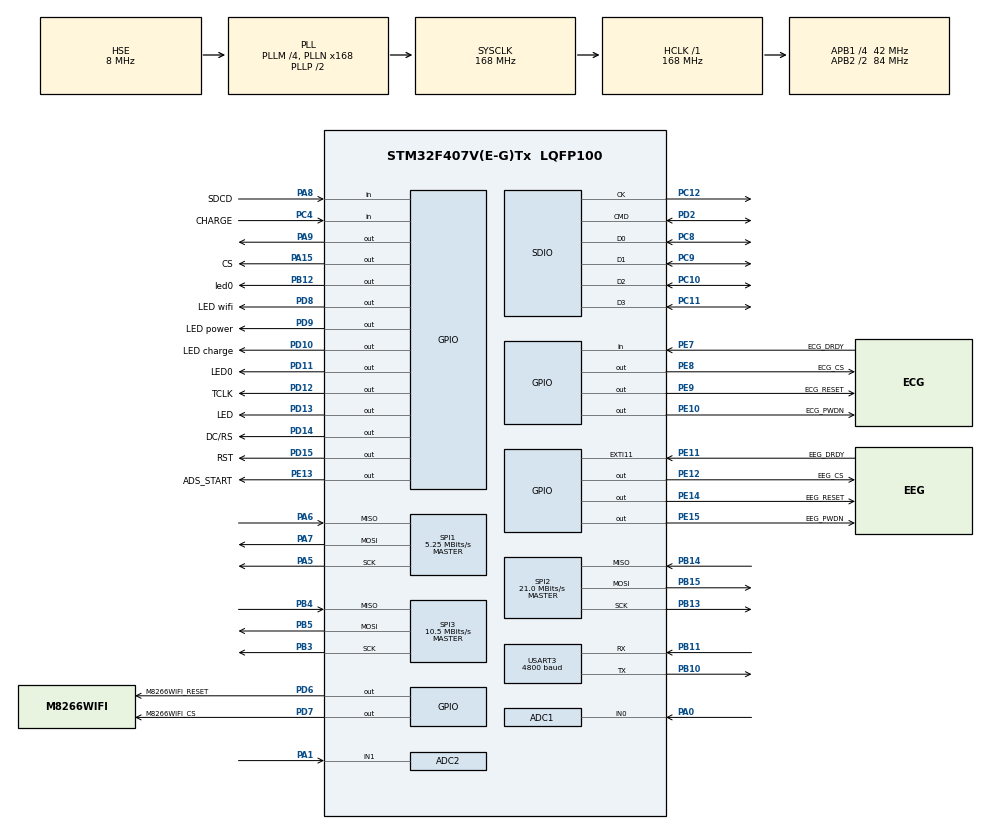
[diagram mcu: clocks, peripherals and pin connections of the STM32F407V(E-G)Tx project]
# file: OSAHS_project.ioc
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ADC1.Channel-0\#ChannelRegularConversion=ADC_CHANNEL_0
ADC1.ClockPrescaler=ADC_CLOCK_SYNC_PCLK_DIV4
ADC1.DMAContinuousRequests=ENABLE
ADC1.ExternalTrigConv=ADC_EXTERNALTRIGCONV_T2_CC2
ADC1.NbrOfConversionFlag=1
ADC1.Rank-0\#ChannelRegularConversion=1
ADC1.SamplingTime-0\#ChannelRegularConversion=ADC_SAMPLETIME_3CYCLES
ADC1.ScanConvMode=ENABLE
ADC1.master=1
ADC2.Channel-0\#ChannelRegularConversion=ADC_CHANNEL_1
ADC2.ClockPrescaler=ADC_CLOCK_SYNC_PCLK_DIV4
ADC2.DMAContinuousRequests=ENABLE
ADC2.ExternalTrigConv=ADC_EXTERNALTRIGCONV_T3_CC1
ADC2.NbrOfConversionFlag=1
ADC2.Rank-0\#ChannelRegularConversion=1
ADC2.SamplingTime-0\#ChannelRegularConversion=ADC_SAMPLETIME_3CYCLES
ADC2.ScanConvMode=ENABLE
Dma.ADC1.0.Direction=DMA_PERIPH_TO_MEMORY
Dma.ADC1.0.FIFOMode=DMA_FIFOMODE_DISABLE
Dma.ADC1.0.Instance=DMA2_Stream4
Dma.ADC1.0.MemDataAlignment=DMA_MDATAALIGN_HALFWORD
Dma.ADC1.0.MemInc=DMA_MINC_ENABLE
Dma.ADC1.0.Mode=DMA_CIRCULAR
Dma.ADC1.0.PeriphDataAlignment=DMA_PDATAALIGN_HALFWORD
Dma.ADC1.0.PeriphInc=DMA_PINC_DISABLE
Dma.ADC1.0.Priority=DMA_PRIORITY_HIGH
Dma.ADC2.1.Direction=DMA_PERIPH_TO_MEMORY
Dma.ADC2.1.FIFOMode=DMA_FIFOMODE_DISABLE
Dma.ADC2.1.Instance=DMA2_Stream2
Dma.ADC2.1.MemDataAlignment=DMA_MDATAALIGN_HALFWORD
Dma.ADC2.1.MemInc=DMA_MINC_ENABLE
Dma.ADC2.1.Mode=DMA_CIRCULAR
Dma.ADC2.1.PeriphDataAlignment=DMA_PDATAALIGN_HALFWORD
Dma.ADC2.1.PeriphInc=DMA_PINC_DISABLE
Dma.ADC2.1.Priority=DMA_PRIORITY_LOW
Dma.Request0=ADC1
Dma.Request1=ADC2
Dma.Request2=USART3_RX
Dma.Request3=SPI3_RX
Dma.Request4=SPI3_TX
Dma.SPI3_RX.3.Direction=DMA_PERIPH_TO_MEMORY
Dma.SPI3_RX.3.FIFOMode=DMA_FIFOMODE_DISABLE
Dma.SPI3_RX.3.Instance=DMA1_Stream0
Dma.SPI3_RX.3.MemDataAlignment=DMA_MDATAALIGN_BYTE
Dma.SPI3_RX.3.MemInc=DMA_MINC_ENABLE
Dma.SPI3_RX.3.Mode=DMA_CIRCULAR
Dma.SPI3_RX.3.PeriphDataAlignment=DMA_PDATAALIGN_BYTE
Dma.SPI3_RX.3.PeriphInc=DMA_PINC_DISABLE
Dma.SPI3_RX.3.Priority=DMA_PRIORITY_VERY_HIGH
Dma.SPI3_TX.4.Direction=DMA_MEMORY_TO_PERIPH
Dma.SPI3_TX.4.FIFOMode=DMA_FIFOMODE_DISABLE
Dma.SPI3_TX.4.Instance=DMA1_Stream5
Dma.SPI3_TX.4.MemDataAlignment=DMA_MDATAALIGN_BYTE
Dma.SPI3_TX.4.MemInc=DMA_MINC_ENABLE
Dma.SPI3_TX.4.Mode=DMA_CIRCULAR
Dma.SPI3_TX.4.PeriphDataAlignment=DMA_PDATAALIGN_BYTE
Dma.SPI3_TX.4.PeriphInc=DMA_PINC_DISABLE
Dma.SPI3_TX.4.Priority=DMA_PRIORITY_VERY_HIGH
Dma.USART3_RX.2.Direction=DMA_PERIPH_TO_MEMORY
Dma.USART3_RX.2.FIFOMode=DMA_FIFOMODE_DISABLE
Dma.USART3_RX.2.Instance=DMA1_Stream1
Dma.USART3_RX.2.MemDataAlignment=DMA_MDATAALIGN_BYTE
Dma.USART3_RX.2.MemInc=DMA_MINC_ENABLE
Dma.USART3_RX.2.Mode=DMA_CIRCULAR
Dma.USART3_RX.2.PeriphDataAlignment=DMA_PDATAALIGN_BYTE
Dma.USART3_RX.2.PeriphInc=DMA_PINC_DISABLE
Dma.USART3_RX.2.Priority=DMA_PRIORITY_MEDIUM
FATFS.BSP.number=1
FATFS._USE_LFN=2
FATFS0.BSP.STBoard=false
FATFS0.BSP.api=Unknown
FATFS0.BSP.i2caddr=0
FATFS0.BSP.instance=PA8
FATFS0.BSP.ip=GPIO
FATFS0.BSP.mode=Input
FATFS0.BSP.name=Detect_SDIO
FATFS0.BSP.solution=PA8
FREERTOS.BinarySemaphores01=Breath_BinarySem,Dynamic,NULL;ADS_BinarySem,Dynamic,NULL;touch_BinarySem,Dynamic,NULL
FREERTOS.Tasks01=defaultTask,1,128,StartDefaultTask,Default,NULL,Dynamic,NULL,NULL;RealTime_Task,-1,256,StartRT_Task,Default,NULL,Dynamic,NULL,NULL;Breath_Task,-1,512,StartBreath_Task,Default,NULL,Dynamic,NULL,NULL;ADS1299_Task,0,512,StartADS_Task,Default,ADS_BinarySemHandle,Dynamic,NULL,NULL
FREERTOS.configLIBRARY_MAX_SYSCALL_INTERRUPT_PRIORITY=5
FREERTOS.configMAX_PRIORITIES=5
Mcu.Family=STM32F4
Mcu.Name=STM32F407V(E-G)Tx
Mcu.Package=LQFP100
NVIC.DMA1_Stream0_IRQn=true\:6\:0\:true\:false\:true\:true\:false\:true
NVIC.DMA1_Stream1_IRQn=true\:7\:0\:true\:false\:true\:true\:false\:true
NVIC.DMA1_Stream5_IRQn=true\:6\:0\:true\:false\:true\:true\:false\:true
NVIC.DMA2_Stream2_IRQn=true\:6\:0\:true\:false\:true\:true\:false\:true
NVIC.DMA2_Stream4_IRQn=true\:5\:0\:true\:false\:true\:true\:false\:true
NVIC.EXTI15_10_IRQn=true\:5\:0\:true\:false\:true\:true\:true\:true
NVIC.PriorityGroup=NVIC_PRIORITYGROUP_4
NVIC.TIM1_UP_TIM10_IRQn=true\:0\:0\:false\:false\:true\:false\:false\:true
NVIC.TimeBase=TIM1_UP_TIM10_IRQn
NVIC.TimeBaseIP=TIM1
NVIC.USART3_IRQn=true\:7\:0\:true\:false\:true\:true\:true\:true
PA0-WKUP.Signal=ADCx_IN0
PA1.Signal=ADCx_IN1
PA13.Mode=Serial_Wire
PA13.Signal=SYS_JTMS-SWDIO
PA14.Mode=Serial_Wire
PA14.Signal=SYS_JTCK-SWCLK
PA15.GPIO_Label=CS
PA15.GPIO_PuPd=GPIO_PULLUP
PA15.Signal=GPIO_Output
PA5.Mode=Full_Duplex_Master
PA5.Signal=SPI1_SCK
PA6.Mode=Full_Duplex_Master
PA6.Signal=SPI1_MISO
PA7.Mode=Full_Duplex_Master
PA7.Signal=SPI1_MOSI
PA8.GPIO_Label=SDCD
PA8.Signal=GPIO_Input
PA9.PinState=GPIO_PIN_SET
PA9.Signal=GPIO_Output
PB10.Mode=Asynchronous
PB10.Signal=USART3_TX
PB11.Mode=Asynchronous
PB11.Signal=USART3_RX
PB12.GPIO_Label=led0
PB12.PinState=GPIO_PIN_SET
PB12.Signal=GPIO_Output
PB13.Mode=Full_Duplex_Master
PB13.Signal=SPI2_SCK
PB14.Mode=Full_Duplex_Master
PB14.Signal=SPI2_MISO
PB15.Mode=Full_Duplex_Master
PB15.Signal=SPI2_MOSI
PB3.Mode=Full_Duplex_Master
PB3.Signal=SPI3_SCK
PB4.Mode=Full_Duplex_Master
PB4.Signal=SPI3_MISO
PB5.Mode=Full_Duplex_Master
PB5.Signal=SPI3_MOSI
PC10.Mode=SD_4_bits_Wide_bus
PC10.Signal=SDIO_D2
PC11.Mode=SD_4_bits_Wide_bus
PC11.Signal=SDIO_D3
PC12.Mode=SD_4_bits_Wide_bus
PC12.Signal=SDIO_CK
PC4.GPIO_Label=CHARGE
PC4.Signal=GPIO_Input
PC8.Mode=SD_4_bits_Wide_bus
PC8.Signal=SDIO_D0
PC9.Mode=SD_4_bits_Wide_bus
PC9.Signal=SDIO_D1
PD10.GPIO_Label=LED charge
PD10.GPIO_ModeDefaultOutputPP=GPIO_MODE_OUTPUT_OD
PD10.Signal=GPIO_Output
PD11.GPIO_Label=LED0
PD11.GPIO_ModeDefaultOutputPP=GPIO_MODE_OUTPUT_OD
PD11.Signal=GPIO_Output
PD12.GPIO_Label=TCLK
PD12.Signal=GPIO_Output
PD13.GPIO_Label=LED
PD13.GPIO_PuPd=GPIO_PULLUP
PD13.Signal=GPIO_Output
PD14.GPIO_Label=DC/RS
PD14.GPIO_PuPd=GPIO_PULLUP
PD14.Signal=GPIO_Output
PD15.GPIO_Label=RST
PD15.GPIO_PuPd=GPIO_PULLUP
PD15.Signal=GPIO_Output
PD2.Mode=SD_4_bits_Wide_bus
PD2.Signal=SDIO_CMD
PD6.GPIO_Label=M8266WIFI_RESET
PD6.GPIO_Speed=GPIO_SPEED_FREQ_HIGH
PD6.Signal=GPIO_Output
PD7.GPIO_Label=M8266WIFI_CS
PD7.GPIO_Speed=GPIO_SPEED_FREQ_HIGH
PD7.Signal=GPIO_Output
PD8.GPIO_Label=LED wifi
PD8.GPIO_ModeDefaultOutputPP=GPIO_MODE_OUTPUT_OD
PD8.Signal=GPIO_Output
PD9.GPIO_Label=LED power
PD9.GPIO_ModeDefaultOutputPP=GPIO_MODE_OUTPUT_OD
PD9.Signal=GPIO_Output
PE10.GPIO_Label=ECG_PWDN
PE10.GPIO_PuPd=GPIO_PULLDOWN
PE10.Signal=GPIO_Output
PE11.GPIO_Label=EEG_DRDY
PE11.GPIO_ModeDefaultEXTI=GPIO_MODE_IT_FALLING
PE11.GPIO_PuPd=GPIO_PULLDOWN
PE11.Signal=GPXTI11
PE12.GPIO_Label=EEG_CS
PE12.Signal=GPIO_Output
PE13.GPIO_Label=ADS_START
PE13.GPIO_PuPd=GPIO_PULLDOWN
PE13.Signal=GPIO_Output
PE14.GPIO_Label=EEG_RESET
PE14.GPIO_PuPd=GPIO_PULLDOWN
PE14.Signal=GPIO_Output
PE15.GPIO_Label=EEG_PWDN
PE15.GPIO_PuPd=GPIO_PULLDOWN
PE15.Signal=GPIO_Output
PE7.GPIO_Label=ECG_DRDY
PE7.GPIO_PuPd=GPIO_PULLDOWN
PE7.Signal=GPIO_Input
PE8.GPIO_Label=ECG_CS
PE8.Signal=GPIO_Output
PE9.GPIO_Label=ECG_RESET
PE9.GPIO_PuPd=GPIO_PULLDOWN
PE9.Signal=GPIO_Output
PH0-OSC_IN.Mode=HSE-External-Oscillator
PH0-OSC_IN.Signal=RCC_OSC_IN
PH1-OSC_OUT.Mode=HSE-External-Oscillator
PH1-OSC_OUT.Signal=RCC_OSC_OUT
ProjectManager.HeapSize=0x400
ProjectManager.StackSize=0x1000
ProjectManager.TargetToolchain=SW4STM32
RCC.48MHZClocksFreq_Value=48000000
RCC.AHBFreq_Value=168000000
RCC.APB1CLKDivider=RCC_HCLK_DIV4
RCC.APB1Freq_Value=42000000
RCC.APB1TimFreq_Value=84000000
RCC.APB2CLKDivider=RCC_HCLK_DIV2
RCC.APB2Freq_Value=84000000
RCC.APB2TimFreq_Value=168000000
RCC.CortexFreq_Value=168000000
RCC.HCLKFreq_Value=168000000
RCC.HSE_VALUE=8000000
RCC.HSI_VALUE=16000000
RCC.LSE_VALUE=32768
RCC.PLLM=4
RCC.PLLN=168
RCC.PLLQ=7
RCC.PLLSourceVirtual=RCC_PLLSOURCE_HSE
RCC.SYSCLKFreq_VALUE=168000000
RCC.SYSCLKSource=RCC_SYSCLKSOURCE_PLLCLK
RCC.VCOOutputFreq_Value=336000000
SDIO.ClockDiv=96
SH.ADCx_IN0.0=ADC1_IN0,IN0
SH.ADCx_IN1.0=ADC2_IN1,IN1
SPI1.BaudRatePrescaler=SPI_BAUDRATEPRESCALER_16
SPI1.CLKPhase=SPI_PHASE_2EDGE
SPI1.CalculateBaudRate=5.25 MBits/s
SPI1.Direction=SPI_DIRECTION_2LINES
SPI1.Mode=SPI_MODE_MASTER
SPI1.VirtualType=VM_MASTER
SPI2.CalculateBaudRate=21.0 MBits/s
SPI2.Direction=SPI_DIRECTION_2LINES
SPI2.Mode=SPI_MODE_MASTER
SPI2.VirtualType=VM_MASTER
SPI3.BaudRatePrescaler=SPI_BAUDRATEPRESCALER_4
SPI3.CalculateBaudRate=10.5 MBits/s
SPI3.Direction=SPI_DIRECTION_2LINES
SPI3.Mode=SPI_MODE_MASTER
SPI3.VirtualType=VM_MASTER
TIM2.Channel-PWM\ Generation2\ No\ Output=TIM_CHANNEL_2
TIM2.Period=500-1
TIM2.Prescaler=21-1
TIM2.Pulse-PWM\ Generation2\ No\ Output=250
TIM2.TIM_MasterOutputTrigger=TIM_TRGO_UPDATE
TIM3.Channel-PWM\ Generation1\ No\ Output=TIM_CHANNEL_1
TIM3.Period=10000-1
TIM3.Prescaler=8400-1
TIM3.Pulse-PWM\ Generation1\ No\ Output=5000
TIM3.TIM_MasterOutputTrigger=TIM_TRGO_UPDATE
USART3.BaudRate=4800
USART3.VirtualMode=VM_ASYNC
VP_FATFS_VS_SDIO.Mode=SDIO
VP_FREERTOS_VS_CMSIS_V1.Mode=CMSIS_V1
VP_SYS_VS_tim1.Mode=TIM1
VP_TIM2_VS_no_output2.Mode=PWM Generation2 No Output
VP_TIM3_VS_no_output1.Mode=PWM Generation1 No Output
board=custom

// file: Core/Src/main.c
/* USER CODE BEGIN Header */
/**
  ******************************************************************************
  * @file           : main.c
  * @brief          : Main program body
  ******************************************************************************
  * @attention
  *
  * <h2><center>&copy; Copyright (c) 2021 STMicroelectronics.
  * All rights reserved.</center></h2>
  *
  * This software component is licensed by ST under BSD 3-Clause license,
  * the "License"; You may not use this file except in compliance with the
  * License. You may obtain a copy of the License at:
  *                        opensource.org/licenses/BSD-3-Clause
  *
  ******************************************************************************
  */
/* USER CODE END Header */
#include "main.h"
#include "cmsis_os.h"
#include "adc.h"
#include "dma.h"
#include "fatfs.h"
#include "sdio.h"
#include "spi.h"
#include "tim.h"
#include "usart.h"
#include "gpio.h"

/* USER CODE BEGIN Includes */
#include "M8266WIFIDrv.h"
#include "M8266WIFI_ops.h"
#include "ADS1298.h"
#include "spo2.h"
#include "InitTask.h"
/* USER CODE END Includes */

typedef struct hal hal;
/* USER CODE BEGIN PD */
uint8_t tim3_count_seconds=0;
/* USER CODE END PD */

/* USER CODE BEGIN PM */
int init_flag;
/* USER CODE END PM */

void SystemClock_Config(void);
void MX_FREERTOS_Init(void);

/* USER CODE BEGIN 0 */
void RCCdelay_us(uint8_t udelay)
{
  __IO uint32_t Delay = udelay * 168 / 8;//(SystemCoreClock / 8U / 1000000U)
    //��stm32f1xx_hal_rcc.c -- static void RCC_Delay(uint32_t mdelay)
  do
  {
    __NOP();
  }
  while (Delay --);
}
const double NUM2[6] = {
     0.9265782515687,   -4.632891257843,    9.265782515687,   -9.265782515687,
      4.632891257843,  -0.9265782515687
};

const double DEN2[6] = {
                   1,   -4.847508003664,      9.4015942664,   -9.119196657394,
      4.423657866459,  -0.8585472562801
};

float highpass_80hz_5jie(double y[], double x[],double xn)
{
	float yn;
  x[0]=x[1];
  x[1]=x[2];
  x[2]=x[3];
  x[3]=x[4];
  x[4]=x[5];
  x[5]=xn;
  y[0]=y[1];
  y[1]=y[2];
  y[2]=y[3];
  y[3]=y[4];
  y[4]=y[5];
  yn=NUM2[0]*x[5]+NUM2[1]*x[4]+NUM2[2]*x[3] + NUM2[3]*x[2]+NUM2[4]*x[2]+NUM2[5]*x[0]-DEN2[1]*y[4]-DEN2[2]*y[3]-DEN2[3]*y[2]-DEN2[4]*y[1]-DEN2[5]*y[0];
  y[5]=yn;
	return yn;

}

const double NUM_1200hzlp5jie[6] = {
    0.006933196130143,  0.03466598065071,  0.06933196130143,  0.06933196130143,
    0.03466598065071, 0.006933196130143
};

const double DEN_1200hzlp5jie[6] = {
     1,   -1.975901616441,       2.013473026,   -1.102617977778,
     0.3276183340002, -0.04070948961667
};

float lowpass_1200hz_5jie(double y[], double x[],double xn)
{
	float yn;
  x[0]=x[1];
  x[1]=x[2];
  x[2]=x[3];
  x[3]=x[4];
  x[4]=x[5];
  x[5]=xn;
  y[0]=y[1];
  y[1]=y[2];
  y[2]=y[3];
  y[3]=y[4];
  y[4]=y[5];
  yn=NUM_1200hzlp5jie[0]*x[5]+NUM_1200hzlp5jie[1]*x[4]+NUM_1200hzlp5jie[2]*x[3] + NUM_1200hzlp5jie[3]*x[2]+NUM_1200hzlp5jie[4]*x[2]+NUM_1200hzlp5jie[5]*x[0]
			-DEN_1200hzlp5jie[1]*y[4]-DEN_1200hzlp5jie[2]*y[3]-DEN_1200hzlp5jie[3]*y[2]-DEN_1200hzlp5jie[4]*y[1]-DEN_1200hzlp5jie[5]*y[0];
  y[5]=yn;
	return yn;
}

const double NUM[3] = {//Q=1
      0.9950290778951,   -1.988523893073,   0.9950290778951
};
const double DEN[3] = {
            1,   -1.988523893073,   0.9900581557902
};
float Notching50Hz(double y[], double x[],double xn){
  float yn;
	x[0]=x[1];
  x[1]=x[2];
  x[2]=xn;
  y[0]=y[1];
	y[1]=y[2];
  yn=(float)(NUM[0]*x[2]+NUM[1]*x[1]+NUM[2]*x[0]-DEN[1]*y[1]-DEN[2]*y[0]);
	y[2]=yn;
	return yn;
}
/* USER CODE END 0 */

int main(void)
{

  /* MCU Configuration--------------------------------------------------------*/

  /* Reset of all peripherals, Initializes the Flash interface and the Systick. */
  HAL_Init();

  /* Configure the system clock */
  SystemClock_Config();

  /* Initialize all configured peripherals */
  MX_GPIO_Init();
  MX_DMA_Init();
  MX_ADC1_Init();
  MX_ADC2_Init();
  MX_TIM2_Init();
  MX_TIM3_Init();
  MX_USART3_UART_Init();
  MX_SPI1_Init();
  MX_SPI2_Init();
  MX_SPI3_Init();
  MX_SDIO_SD_Init();
  MX_FATFS_Init();

  /* Call init function for freertos objects (in freertos.c) */
  MX_FREERTOS_Init();
  /* Start scheduler */
  osKernelStart();

  /* We should never get here as control is now taken by the scheduler */
  /* Infinite loop */
  while (1)
  {

  }
}

void SystemClock_Config(void)
{
  RCC_OscInitTypeDef RCC_OscInitStruct = {0};
  RCC_ClkInitTypeDef RCC_ClkInitStruct = {0};

  /** Configure the main internal regulator output voltage
  */
  __HAL_RCC_PWR_CLK_ENABLE();
  __HAL_PWR_VOLTAGESCALING_CONFIG(PWR_REGULATOR_VOLTAGE_SCALE1);
  /** Initializes the RCC Oscillators according to the specified parameters
  * in the RCC_OscInitTypeDef structure.
  */
  RCC_OscInitStruct.OscillatorType = RCC_OSCILLATORTYPE_HSE;
  RCC_OscInitStruct.HSEState = RCC_HSE_ON;
  RCC_OscInitStruct.PLL.PLLState = RCC_PLL_ON;
  RCC_OscInitStruct.PLL.PLLSource = RCC_PLLSOURCE_HSE;
  RCC_OscInitStruct.PLL.PLLM = 4;
  RCC_OscInitStruct.PLL.PLLN = 168;
  RCC_OscInitStruct.PLL.PLLP = RCC_PLLP_DIV2;
  RCC_OscInitStruct.PLL.PLLQ = 7;
  if (HAL_RCC_OscConfig(&RCC_OscInitStruct) != HAL_OK)
  {
    Error_Handler();
  }
  /** Initializes the CPU, AHB and APB buses clocks
  */
  RCC_ClkInitStruct.ClockType = RCC_CLOCKTYPE_HCLK|RCC_CLOCKTYPE_SYSCLK
                              |RCC_CLOCKTYPE_PCLK1|RCC_CLOCKTYPE_PCLK2;
  RCC_ClkInitStruct.SYSCLKSource = RCC_SYSCLKSOURCE_PLLCLK;
  RCC_ClkInitStruct.AHBCLKDivider = RCC_SYSCLK_DIV1;
  RCC_ClkInitStruct.APB1CLKDivider = RCC_HCLK_DIV4;
  RCC_ClkInitStruct.APB2CLKDivider = RCC_HCLK_DIV2;

  if (HAL_RCC_ClockConfig(&RCC_ClkInitStruct, FLASH_LATENCY_5) != HAL_OK)
  {
    Error_Handler();
  }
}

/* USER CODE BEGIN 4 */

void HAL_GPIO_EXTI_Callback(uint16_t GPIO_Pin)
	{
	if(GPIO_Pin == EEG_DRDY_Pin)
		{
			//HAL_GPIO_TogglePin(led0_GPIO_Port,led0_Pin);
		//INIT_DRDY = true;

		//osSemaphoreRelease(ADS_BinarySemHandle);
		BaseType_t  xHigherPriorityTaskWoken;
		xSemaphoreGiveFromISR(ADS_BinarySemHandle,&xHigherPriorityTaskWoken);
//		ADS_updateChannelData();
//		ADS_SendDataBuff();//���Ʋ�����+

	}
//	if(GPIO_Pin == ECG_DRDY_Pin)
//		{
//			//HAL_GPIO_TogglePin(led0_GPIO_Port,led0_Pin);
//		//INIT_DRDY = true;
//		//osSemaphoreRelease(ADS_BinarySemHandle);
//		BaseType_t  xHigherPriorityTaskWoken;
//		xSemaphoreGiveFromISR(ADS_BinarySemHandle,&xHigherPriorityTaskWoken);
////		ADS_updateChannelData();
////		ADS_SendDataBuff();//���Ʋ�����+
//
//	}
}
/* USER CODE END 4 */

 /**
  * @brief  Period elapsed callback in non blocking mode
  * @note   This function is called  when TIM1 interrupt took place, inside
  * HAL_TIM_IRQHandler(). It makes a direct call to HAL_IncTick() to increment
  * a global variable "uwTick" used as application time base.
  * @param  htim : TIM handle
  * @retval None
  */
void HAL_TIM_PeriodElapsedCallback(TIM_HandleTypeDef *htim)
{
  if (htim->Instance == TIM1) {
    HAL_IncTick();
  }
}

void Error_Handler(void)
{
  __disable_irq();
  while (1)
  {
  }
}

/************************ (C) COPYRIGHT STMicroelectronics *****END OF FILE****/

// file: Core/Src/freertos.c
/* USER CODE BEGIN Header */
/**
  ******************************************************************************
  * File Name          : freertos.c
  * Description        : Code for freertos applications
  ******************************************************************************
  * @attention
  *
  * <h2><center>&copy; Copyright (c) 2021 STMicroelectronics.
  * All rights reserved.</center></h2>
  *
  * This software component is licensed by ST under Ultimate Liberty license
  * SLA0044, the "License"; You may not use this file except in compliance with
  * the License. You may obtain a copy of the License at:
  *                             www.st.com/SLA0044
  *
  ******************************************************************************
  */
/* USER CODE END Header */

#include "FreeRTOS.h"
#include "task.h"
#include "main.h"
#include "cmsis_os.h"

/* USER CODE BEGIN Includes */
#include "InitTask.h"
/* USER CODE END Includes */

/* USER CODE BEGIN PTD */
int pc_connect_flag=0;
extern int touch_record_flag;
/* USER CODE END PTD */

void MX_FREERTOS_Init(void); /* (MISRA C 2004 rule 8.1) */

/* GetIdleTaskMemory prototype (linked to static allocation support) */
void vApplicationGetIdleTaskMemory( StaticTask_t **ppxIdleTaskTCBBuffer, StackType_t **ppxIdleTaskStackBuffer, uint32_t *pulIdleTaskStackSize );

/* USER CODE BEGIN GET_IDLE_TASK_MEMORY */
static StaticTask_t xIdleTaskTCBBuffer;
static StackType_t xIdleStack[configMINIMAL_STACK_SIZE];

void vApplicationGetIdleTaskMemory( StaticTask_t **ppxIdleTaskTCBBuffer, StackType_t **ppxIdleTaskStackBuffer, uint32_t *pulIdleTaskStackSize )
{
  *ppxIdleTaskTCBBuffer = &xIdleTaskTCBBuffer;
  *ppxIdleTaskStackBuffer = &xIdleStack[0];
  *pulIdleTaskStackSize = configMINIMAL_STACK_SIZE;
  /* place for user code */
}
/* USER CODE END GET_IDLE_TASK_MEMORY */

void MX_FREERTOS_Init(void) {
  /* USER CODE BEGIN Init */
	//portENTER_CRITICAL();
  /* USER CODE END Init */

  /* Create the semaphores(s) */
  /* definition and creation of Breath_BinarySem */
  osSemaphoreDef(Breath_BinarySem);
  Breath_BinarySemHandle = osSemaphoreCreate(osSemaphore(Breath_BinarySem), 1);
  /* definition and creation of ADS_BinarySem */
  osSemaphoreDef(ADS_BinarySem);
  ADS_BinarySemHandle = osSemaphoreCreate(osSemaphore(ADS_BinarySem), 1);
  /* definition and creation of touch_BinarySem */
  osSemaphoreDef(touch_BinarySem);
  touch_BinarySemHandle = osSemaphoreCreate(osSemaphore(touch_BinarySem), 1);

  /* Create the thread(s) */
  /* definition and creation of defaultTask */
  ///初始化
  osThreadDef(defaultTask, StartDefaultTask, osPriorityAboveNormal, 0, 128);
  defaultTaskHandle = osThreadCreate(osThread(defaultTask), NULL);
  /* definition and creation of RealTime_Task */
  osThreadDef(RealTime_Task, StartRT_Task, osPriorityBelowNormal, 0, 256);
  RealTime_TaskHandle = osThreadCreate(osThread(RealTime_Task), NULL);
  /* definition and creation of Breath_Task */
  osThreadDef(Breath_Task, StartBreath_Task, osPriorityBelowNormal, 0, 512);
  Breath_TaskHandle = osThreadCreate(osThread(Breath_Task), NULL);
  /* definition and creation of ADS1299_Task */
  osThreadDef(ADS1299_Task, StartADS_Task, osPriorityNormal, 0, 512);
  ADS1299_TaskHandle = osThreadCreate(osThread(ADS1299_Task), (void*) ADS_BinarySemHandle);
}

void StartRT_Task(void const * argument)
{
  for(;;)
  {
    osDelay(1);
  }
}

/************************ (C) COPYRIGHT STMicroelectronics *****END OF FILE****/
